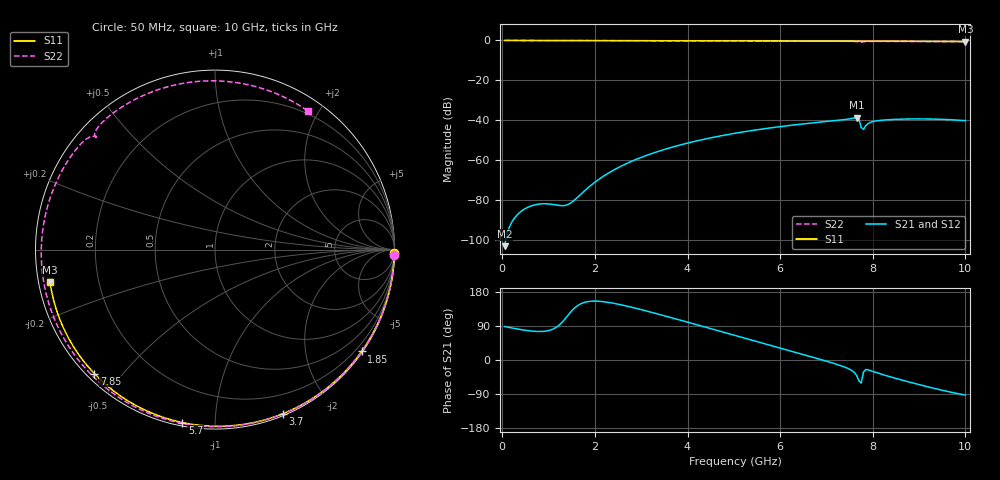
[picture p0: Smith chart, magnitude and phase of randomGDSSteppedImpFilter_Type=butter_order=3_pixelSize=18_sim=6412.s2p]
! freq	dB(S11)	phase(S11)	dB(S12)	phase(S12)
!  dB(S21)	phase(S21)	dB(S22)	phase(S22)
!S-par simulation data
#  GHz  S  DB  R 50
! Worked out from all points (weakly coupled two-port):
!   200 points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, 50 MHz to 10 GHz, reference 50 ohm
!   highest |S21| = -38.62 dB at 7.65 GHz (marker M1); lowest = -102.9 dB at 50 MHz (marker M2)
!   lowest |S11| = -0.6 dB at 10 GHz (marker M3), VSWR 30.65, Z = 1.65 - j4.93 ohm
!   |S11| at or under -10 dB: nowhere
!   |S22| runs from -0.9 to 0.0 dB; largest |S21 - S12| = 0
!   S11 on the Smith chart (normalised r, x): 50 MHz: open; 1.85 GHz: 0.03, -3.19; 3.7 GHz: 0.02, -1.49; 5.7 GHz: 0.02, -0.83; 7.85 GHz: 0.02, -0.42; 10 GHz: 0.03, -0.10
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0.05  -0.00 -1.0  -102.89 88.4  -102.89 88.4  -0.00 -1.7
0.75  -0.02 -14.3  -81.99 75.3  -81.99 75.3  -0.03 -25.5
1.55  -0.04 -29.2  -80.01 135.9  -80.01 135.9  -0.06 -51.7
1.75  -0.04 -32.9  -75.77 151.1  -75.77 151.1  -0.07 -58.1
1.85  -0.04 -34.8  -73.70 154.1  -73.70 154.1  -0.08 -61.2
2.5  -0.06 -46.6  -63.64 147.4  -63.64 147.4  -0.10 -81.0
3.4  -0.08 -62.5  -55.23 120.0  -55.23 120.0  -0.13 -106.8
3.7  -0.09 -67.6  -53.16 110.0  -53.16 110.0  -0.14 -115.0
5.05  -0.14 -90.2  -46.33 64.0  -46.33 64.0  -0.21 -150.5
5.7  -0.17 -100.6  -44.01 41.8  -44.01 41.8  -0.25 -167.3
6.7  -0.23 -116.4  -41.25 7.4  -41.25 7.4  -0.32 166.1
7.25  -0.27 -124.9  -39.95 -12.6  -39.95 -12.6  -0.37 150.6
7.65  -0.30 -131.2  -38.62 -40.7  -38.62 -40.7  -0.57 137.7
7.7  -0.31 -131.9  -39.31 -54.6  -39.31 -54.6  -0.79 136.3
7.75  -0.32 -132.7  -43.54 -61.0  -43.54 -61.0  -0.90 137.0
7.8  -0.32 -133.5  -44.47 -31.6  -44.47 -31.6  -0.66 136.5
7.85  -0.32 -134.2  -42.56 -25.1  -42.56 -25.1  -0.53 134.7
8  -0.33 -136.6  -40.60 -30.2  -40.60 -30.2  -0.46 129.4
8.35  -0.37 -142.0  -39.62 -43.5  -39.62 -43.5  -0.47 117.8
9.2  -0.46 -155.5  -39.27 -71.1  -39.27 -71.1  -0.54 87.9
9.6  -0.51 -162.1  -39.55 -82.6  -39.55 -82.6  -0.58 72.5
10  -0.57 -168.7  -40.12 -92.6  -40.12 -92.6  -0.63 56.2
